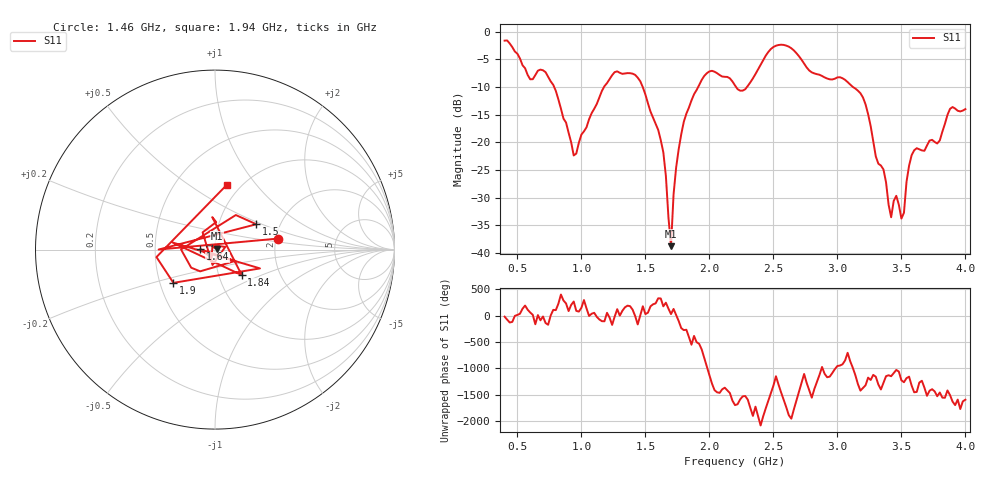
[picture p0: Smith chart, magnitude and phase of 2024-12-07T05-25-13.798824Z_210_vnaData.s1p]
!Created with skrf (http://scikit-rf.org).
# Hz S RI R 50.0
!freq ReS11 ImS11
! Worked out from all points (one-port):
!   181 points, 400 MHz to 4 GHz, reference 50 ohm
!   lowest |S11| = -38.7 dB at 1.7 GHz (marker M1), VSWR 1.02, Z = 51 + j0.624 ohm
!   |S11| at or under -10 dB: 787 MHz to 1.177 GHz (389.8 MHz wide, 39.7 % of centre); 1.479 GHz to 1.912 GHz (433.6 MHz wide, 25.6 % of centre); 3.121 GHz to end of sweep (the widest 3 of 4)
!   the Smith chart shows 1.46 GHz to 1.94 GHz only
!   S11 on the Smith chart (normalised r, x): 1.46 GHz: 2.05, +0.29; 1.5 GHz: 1.51, +0.46; 1.64 GHz: 0.85, +0.00; 1.84 GHz: 1.29, -0.38; 1.9 GHz: 0.59, -0.24; 1.94 GHz: 0.86, +0.72
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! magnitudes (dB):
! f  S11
! 400 MHz  -1.6
! 600 MHz  -8.6
! 720 MHz  -7.3
! 860 MHz  -15.7
! 960 MHz  -22.0
! 1.18 GHz  -9.9
! 1.3 GHz  -7.4
! 1.46 GHz  -9.0
! 1.5 GHz  -11.4
! 1.64 GHz  -21.8
! 1.7 GHz  -38.7
! 1.72 GHz  -29.4
! 1.76 GHz  -21.2
! 1.84 GHz  -13.7
! 1.9 GHz  -10.6
! 1.94 GHz  -8.7
! 2.2 GHz  -9.7
! 2.5 GHz  -2.8
! 2.66 GHz  -3.4
! 3.1 GHz  -9.6
! 3.22 GHz  -13.1
! 3.42 GHz  -33.5
! 3.46 GHz  -29.6
! 3.52 GHz  -32.7
! 3.56 GHz  -24.2
! 3.8 GHz  -19.7
! 3.88 GHz  -14.0
! 4 GHz  -14.0
